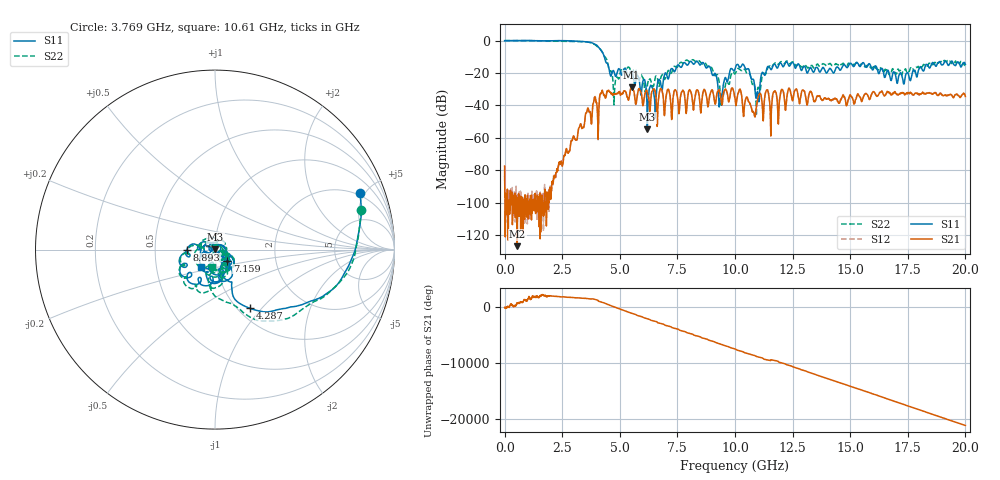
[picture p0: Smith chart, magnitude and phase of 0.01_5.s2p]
#  HZ  S  RI  R  50.00
! Rohde & Schwarz Vector Network Analyzer
! Rohde-Schwarz,ZNB20-2Port,1311601062102128,3.60
! Created: UTC 4/29/2024, 2:51:26 PM
! freq[Hz]  re:S11  im:S11  re:S21  im:S21  re:S12  im:S12  re:S22  im:S22
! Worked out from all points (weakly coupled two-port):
!   2007 points, 100 kHz to 20 GHz, reference 50 ohm
!   highest |S21| = -28.75 dB at 5.514 GHz (marker M1); lowest = -126.7 dB at 548.5 MHz (marker M2)
!   lowest |S11| = -54.8 dB at 6.191 GHz (marker M3), VSWR 1.00, Z = 50.1 + j0.161 ohm
!   |S11| at or under -10 dB: 4.328 GHz to end of sweep
!   |S22| runs from -46.2 to 0.1 dB; largest |S21 - S12| = 0.002
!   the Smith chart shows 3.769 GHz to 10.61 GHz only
!   S11 on the Smith chart (normalised r, x): 3.769 GHz: 1.80, +4.58; 4.287 GHz: 1.13, -0.86; 7.159 GHz: 1.14, -0.14; 8.893 GHz: 0.73, -0.00; 10.61 GHz: 0.84, -0.17
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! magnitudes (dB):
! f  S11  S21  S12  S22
! 100 kHz  0.0  -77.3  -83.3  0.1
! 548.5 MHz  0.0  -126.7  -111.9  0.0
! 2.223 GHz  -0.1  -81.5  -84.4  -0.3
! 3.34 GHz  -0.6  -53.7  -53.3  -0.6
! 3.769 GHz  -1.2  -51.3  -51.6  -1.5
! 4.287 GHz  -8.4  -32.6  -32.7  -8.7
! 4.776 GHz  -20.4  -32.7  -32.7  -29.9
! 5.514 GHz  -18.9  -28.7  -28.7  -20.1
! 6.191 GHz  -54.8  -32.0  -32.1  -28.2
! 6.67 GHz  -24.4  -37.4  -37.4  -25.8
! 7.159 GHz  -20.8  -32.1  -32.2  -19.2
! 7.916 GHz  -15.1  -39.2  -39.2  -12.0
! 8.893 GHz  -16.0  -34.4  -34.3  -16.6
! 9.372 GHz  -35.1  -34.3  -34.3  -33.9
! 10 GHz  -17.5  -35.6  -35.6  -20.5
! 10.61 GHz  -18.0  -37.9  -37.9  -20.0
! 10.82 GHz  -24.6  -44.4  -44.3  -26.1
! 10.97 GHz  -31.5  -37.3  -37.3  -31.5
! 11.46 GHz  -15.9  -32.6  -32.7  -16.2
! 13.34 GHz  -18.0  -32.7  -32.7  -15.3
! 16.67 GHz  -19.1  -31.8  -31.8  -20.5
! 20 GHz  -14.7  -34.5  -34.5  -14.3
